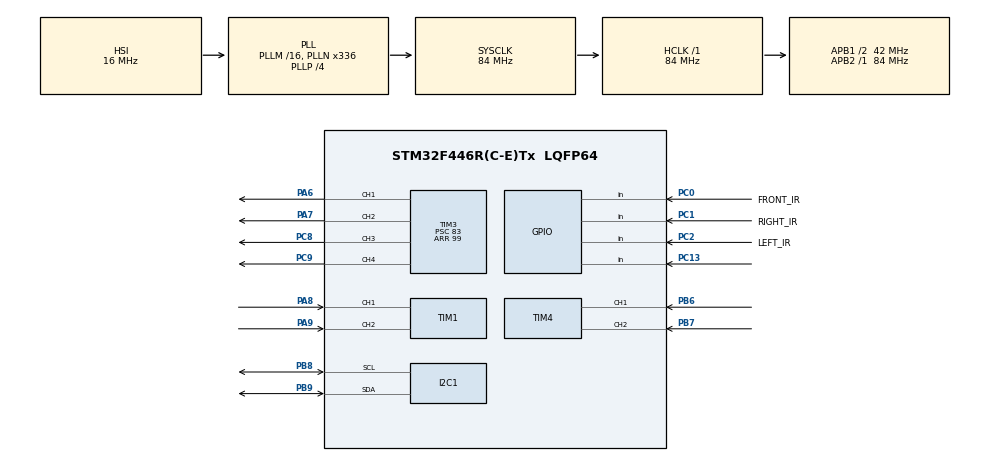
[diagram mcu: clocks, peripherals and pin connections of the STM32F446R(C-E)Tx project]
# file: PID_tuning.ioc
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Mcu.Family=STM32F4
Mcu.Name=STM32F446R(C-E)Tx
Mcu.Package=LQFP64
NVIC.PriorityGroup=NVIC_PRIORITYGROUP_0
NVIC.TIM6_DAC_IRQn=true\:0\:0\:false\:false\:true\:true\:true\:true
PA0-WKUP.Signal=S_TIM2_CH1_ETR
PA1.Signal=S_TIM2_CH2
PA13.Mode=Serial_Wire
PA13.Signal=SYS_JTMS-SWDIO
PA14.Mode=Serial_Wire
PA14.Signal=SYS_JTCK-SWCLK
PA6.Signal=S_TIM3_CH1
PA7.Signal=S_TIM3_CH2
PA8.Signal=S_TIM1_CH1
PA9.Signal=S_TIM1_CH2
PB6.Signal=S_TIM4_CH1
PB7.Signal=S_TIM4_CH2
PB8.Mode=I2C
PB8.Signal=I2C1_SCL
PB9.Mode=I2C
PB9.Signal=I2C1_SDA
PC0.GPIO_Label=FRONT_IR
PC0.GPIO_PuPd=GPIO_PULLUP
PC0.Signal=GPIO_Input
PC1.GPIO_Label=RIGHT_IR
PC1.GPIO_PuPd=GPIO_PULLUP
PC1.Signal=GPIO_Input
PC13.GPIO_PuPd=GPIO_PULLUP
PC13.Signal=GPIO_Input
PC2.GPIO_Label=LEFT_IR
PC2.GPIO_PuPd=GPIO_PULLUP
PC2.Signal=GPIO_Input
PC8.Signal=S_TIM3_CH3
PC9.Signal=S_TIM3_CH4
ProjectManager.HeapSize=0x200
ProjectManager.StackSize=0x400
ProjectManager.TargetToolchain=STM32CubeIDE
RCC.48MHZClocksFreq_Value=84000000
RCC.AHBFreq_Value=84000000
RCC.APB1CLKDivider=RCC_HCLK_DIV2
RCC.APB1Freq_Value=42000000
RCC.APB1TimFreq_Value=84000000
RCC.APB2Freq_Value=84000000
RCC.APB2TimFreq_Value=84000000
RCC.CortexFreq_Value=84000000
RCC.FLatency-AdvancedSettings=FLASH_LATENCY_2
RCC.HCLKFreq_Value=84000000
RCC.HSE_VALUE=8000000
RCC.HSI_VALUE=16000000
RCC.PLLN=336
RCC.PLLP=RCC_PLLP_DIV4
RCC.SYSCLKFreq_VALUE=84000000
RCC.SYSCLKSource=RCC_SYSCLKSOURCE_PLLCLK
RCC.USBFreq_Value=168000000
RCC.VCOOutputFreq_Value=336000000
SH.S_TIM1_CH1.0=TIM1_CH1,Encoder_Interface
SH.S_TIM1_CH2.0=TIM1_CH2,Encoder_Interface
SH.S_TIM2_CH1_ETR.0=TIM2_CH1
SH.S_TIM2_CH2.0=TIM2_CH2
SH.S_TIM3_CH1.0=TIM3_CH1,PWM Generation1 CH1
SH.S_TIM3_CH2.0=TIM3_CH2,PWM Generation2 CH2
SH.S_TIM3_CH3.0=TIM3_CH3,PWM Generation3 CH3
SH.S_TIM3_CH4.0=TIM3_CH4,PWM Generation4 CH4
SH.S_TIM4_CH1.0=TIM4_CH1,Encoder_Interface
SH.S_TIM4_CH2.0=TIM4_CH2,Encoder_Interface
TIM1.AutoReloadPreload=TIM_AUTORELOAD_PRELOAD_ENABLE
TIM1.EncoderMode=TIM_ENCODERMODE_TI12
TIM1.IC1Filter=5
TIM3.AutoReloadPreload=TIM_AUTORELOAD_PRELOAD_DISABLE
TIM3.Channel-PWM\ Generation1\ CH1=TIM_CHANNEL_1
TIM3.Channel-PWM\ Generation2\ CH2=TIM_CHANNEL_2
TIM3.Channel-PWM\ Generation3\ CH3=TIM_CHANNEL_3
TIM3.Channel-PWM\ Generation4\ CH4=TIM_CHANNEL_4
TIM3.Period=99
TIM3.Prescaler=83
TIM4.AutoReloadPreload=TIM_AUTORELOAD_PRELOAD_ENABLE
TIM4.EncoderMode=TIM_ENCODERMODE_TI12
TIM4.IC1Filter=5
TIM4.IC1Polarity=TIM_ICPOLARITY_RISING
TIM4.IC2Polarity=TIM_ICPOLARITY_RISING
TIM6.AutoReloadPreload=TIM_AUTORELOAD_PRELOAD_ENABLE
TIM6.Period=999
TIM6.Prescaler=83
VP_TIM6_VS_ClockSourceINT.Mode=Enable_Timer
board=NUCLEO-F446RE

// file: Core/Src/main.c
/* USER CODE BEGIN Header */
/**
  ******************************************************************************
  * @file           : main.c
  * @brief          : Main program body
  ******************************************************************************
  * @attention
  *
  * Copyright (c) 2025 STMicroelectronics.
  * All rights reserved.
  *
  * This software is licensed under terms that can be found in the LICENSE file
  * in the root directory of this software component.
  * If no LICENSE file comes with this software, it is provided AS-IS.
  *
  ******************************************************************************
  */
/* USER CODE END Header */
#include "main.h"

/* USER CODE BEGIN Includes */
#include <string.h>
#include <stdio.h>
#include "Motor_Encoder.h"
#include "lpf.h"
#include "pid.h"
#include "lsm6dsox.h"
#include "IR_driver.h"
#include "solver.h"

/* USER CODE END Includes */

/* USER CODE BEGIN PD */

encoder left_enc;
encoder right_enc;
PID     pid_left;
PID     pid_right;

//Gyroscope Define
uint8_t lsm6dsox_buf[12] = { 0 };
#define M_PI 3.14159265358979323846f
lsm6dsox_t lsm6dsox;
HAL_StatusTypeDef status;
int i = 0;
int deg_z = 0;
float ax, ay, az;
float ax_g, ay_g, az_g;
float gx_dps,gy_dps, gz_dps;

//////////////////////////

volatile int  left_wall;
volatile int  right_wall;
//uint32_t la_wall;
//uint32_t ra_wall;
volatile int front;

volatile uint8_t pid_update_flag = 0; // set in TIM6 ISR

#define COUNTS_PER_REV  1400.0f

void HAL_TIM_PeriodElapsedCallback(TIM_HandleTypeDef *htim) {
    if (htim->Instance == TIM6) {
    	pid_update_flag = 1;
    }
//    } else if (htim->Instance == TIM7) {
//    	sampling_flg = 1;
//    }
}
/* USER CODE END PD */

I2C_HandleTypeDef hi2c1;

TIM_HandleTypeDef htim1;
TIM_HandleTypeDef htim3;
TIM_HandleTypeDef htim4;
TIM_HandleTypeDef htim6;

void SystemClock_Config(void);
static void MX_GPIO_Init(void);
static void MX_TIM1_Init(void);
static void MX_TIM3_Init(void);
static void MX_TIM6_Init(void);
static void MX_TIM4_Init(void);
static void MX_I2C1_Init(void);

/* USER CODE BEGIN 0 */
HAL_StatusTypeDef lsm6dsox_enable_accel(lsm6dsox_t *dev) {
    // CTRL1_XL: ODR=104Hz (0x4), FS=±2g (0x0), LPF1=ODR/4 (0x1)
    uint8_t data = 0x41; // 01000001
    HAL_StatusTypeDef status = lsm6dsox_write(dev, REG_CTRL1_XL, data);
    if (status != HAL_OK) return status;

    // CTRL8_XL: Enable LPF2 with bandwidth=ODR/4 (26Hz)
    data = 0x02; // 00000010
    return lsm6dsox_write(dev, REG_CTRL8_XL, data);
}

// Gyroscope: 104Hz, ±250dps, LPF1 enabled
HAL_StatusTypeDef lsm6dsox_enable_gyro(lsm6dsox_t *dev) {
    // CTRL2_G: ODR=104Hz (0x4), FS=250dps (0x0)
    uint8_t data = 0x44; // 01000100 (ODR=104Hz, FS=250dps)
    HAL_StatusTypeDef status = lsm6dsox_write(dev, REG_CTRL2_G, data);
    if (status != HAL_OK) return status;

    // CTRL6_C: Gyro LPF1 bandwidth=ODR/4 (26Hz)
    data = 0x00; // FTYPE[1:0]=00 (LPF1 bandwidth=ODR/4)
    return lsm6dsox_write(dev, REG_CTRL6_C, data);
}

void moveForward() {
	HAL_Delay(2000);
	float displacement = 0;
	LPF_Coef coeffs_left = calculate_lpf_coefficients(10.0, 1000.0, 0.707);
	LPF_Coef coeffs_right= calculate_lpf_coefficients(10.0, 1000.0, 0.707);
	LPF_State state_left = {0, 0, 0, 0};
	LPF_State state_right = {0, 0, 0, 0};
	Encoder_Reset(&left_enc);
	Encoder_Reset(&right_enc);

	float angle_deg = 0;
	int angle = 0;
	__HAL_TIM_SET_COUNTER(&htim1, 0);
	__HAL_TIM_SET_COUNTER(&htim4, 0);
	while (displacement < 43){
		if (pid_update_flag){

			pid_update_flag = 0;

			Encoder_Update(&right_enc, &htim4, 0.001, COUNTS_PER_REV, 1);
			Encoder_Update(&left_enc,  &htim1, 0.001, COUNTS_PER_REV, 1);
			float left_rpm = left_enc.rpm;
			float right_rpm = right_enc.rpm;
			float left = lpf_process(left_rpm, &state_left, coeffs_left.b0, coeffs_left.b1, coeffs_left.b2, coeffs_left.a1, coeffs_left.a2);
			float right = lpf_process(right_rpm, &state_right, coeffs_right.b0, coeffs_right.b1, coeffs_right.b2, coeffs_right.a1, coeffs_right.a2);
			float setval = 200;
			displacement = displacement + (0.5* (left + right) * 13.195 / 60) * 0.001;

			PID_Update(&pid_left, setval , left,  0.001);
			PID_Update(&pid_right, setval + 1.7 , right, 0.001);

			Motor_SetMotorPWM(&htim3, TIM_CHANNEL_1, TIM_CHANNEL_2, pid_left.output);
			Motor_SetMotorPWM(&htim3, TIM_CHANNEL_3, TIM_CHANNEL_4, pid_right.output);
		}
	}

    Motor_SetMotorPWM(&htim3, TIM_CHANNEL_1, TIM_CHANNEL_2, 0);
	Motor_SetMotorPWM(&htim3, TIM_CHANNEL_3, TIM_CHANNEL_4, 0);
}

void turnRight() {
	HAL_Delay(2000);
	float angle_deg = 0;
	int angle = 0;
	__HAL_TIM_SET_COUNTER(&htim1, 0);
	__HAL_TIM_SET_COUNTER(&htim4, 0);
	while (angle < 91) {
		if (pid_update_flag){

			status = lsm6dsox_read(&lsm6dsox, REG_OUTX_L_G, 6);
			if (status == HAL_OK) {
				gz_dps = getGZ_dps(lsm6dsox_buf);

				angle_deg += (gz_dps *0.002);
				angle = (int) wrap_angle(angle_deg);

			}

			Motor_SetMotorPWM(&htim3, TIM_CHANNEL_1, TIM_CHANNEL_2, -70);
			Motor_SetMotorPWM(&htim3, TIM_CHANNEL_3, TIM_CHANNEL_4, 70);
		}

	}
    Motor_SetMotorPWM(&htim3, TIM_CHANNEL_1, TIM_CHANNEL_2, 0);
	Motor_SetMotorPWM(&htim3, TIM_CHANNEL_3, TIM_CHANNEL_4, 0);

}
void turnLeft() {
	HAL_Delay(2000);
	float angle_deg = 0;
	int angle = 0;
	__HAL_TIM_SET_COUNTER(&htim1, 0);
	__HAL_TIM_SET_COUNTER(&htim4, 0);
	while (angle > -92) {
		if (pid_update_flag){

			status = lsm6dsox_read(&lsm6dsox, REG_OUTX_L_G, 6);
			if (status == HAL_OK) {
				gz_dps = getGZ_dps(lsm6dsox_buf);

				angle_deg += (gz_dps *0.002);
				angle = (int) wrap_angle(angle_deg);

			}
			Motor_SetMotorPWM(&htim3, TIM_CHANNEL_1, TIM_CHANNEL_2, 70);
			Motor_SetMotorPWM(&htim3, TIM_CHANNEL_3, TIM_CHANNEL_4, -70);
		}

	}
    Motor_SetMotorPWM(&htim3, TIM_CHANNEL_1, TIM_CHANNEL_2, 0);
	Motor_SetMotorPWM(&htim3, TIM_CHANNEL_3, TIM_CHANNEL_4, 0);

}

void decisions(Action a) {
    switch (a) {
        case LEFT:
            turnLeft();
            break;
        case RIGHT:
            turnRight();
            break;
        case FORWARD:
            moveForward();
            break;
        case TURNAROUND:
            turnLeft();
            turnLeft();
            break;
        default:
            // Handle unexpected cases
            break;
    }
}

/* USER CODE END 0 */

int main(void)
{

  /* MCU Configuration--------------------------------------------------------*/

  /* Reset of all peripherals, Initializes the Flash interface and the Systick. */
  HAL_Init();

  /* Configure the system clock */
  SystemClock_Config();

  /* Initialize all configured peripherals */
  MX_GPIO_Init();
  MX_TIM1_Init();
  MX_TIM3_Init();
  MX_TIM6_Init();
  MX_TIM4_Init();
  MX_I2C1_Init();
  /* USER CODE BEGIN 2 */

  HAL_TIM_PWM_Start(&htim3, TIM_CHANNEL_1);
  HAL_TIM_PWM_Start(&htim3, TIM_CHANNEL_2);
  HAL_TIM_PWM_Start(&htim3, TIM_CHANNEL_3);
  HAL_TIM_PWM_Start(&htim3, TIM_CHANNEL_4);

  // Zero PWM initially

  // Start encoders (Quadrature mode)
  HAL_TIM_Encoder_Start(&htim1, TIM_CHANNEL_ALL); // right motor?
  HAL_TIM_Encoder_Start(&htim4, TIM_CHANNEL_ALL); // left motor?

  // Start periodic base timer for the PID loop
  HAL_TIM_Base_Start_IT(&htim6);

	PID_Init(&pid_left,  1.0f, 0.00001f, 0.0001f, 0.0f);
	PID_Init(&pid_right, 1.0f, 0.00001f, 0.0001f, 0.0f);
//	HAL_TIM_Base_Start_IT(&htim2)

	//kp = 1.17, kd = 0, ki = 0.001

//Gyro init
	  status = lsm6dsox_init(&lsm6dsox, &hi2c1, lsm6dsox_buf, 12);
	  if (status != HAL_OK) {
	    Error_Handler();
	  }
	  status = lsm6dsox_enable_accel(&lsm6dsox);
	  if (status != HAL_OK) Error_Handler();
	  status = lsm6dsox_enable_gyro(&lsm6dsox);
	  if (status != HAL_OK) Error_Handler();

/////////

	while (HAL_GPIO_ReadPin(GPIOC, GPIO_PIN_13) == GPIO_PIN_SET){

		//using the push button as a start

	  Motor_SetPWM(&htim3, TIM_CHANNEL_1, 0);
	  Motor_SetPWM(&htim3, TIM_CHANNEL_2, 0);
	  Motor_SetPWM(&htim3, TIM_CHANNEL_3, 0);
	  Motor_SetPWM(&htim3, TIM_CHANNEL_4, 0);

	}

	generateInitialWalls();
  /* USER CODE END 2 */

  /* Infinite loop */
  /* USER CODE BEGIN WHILE */
  while (1)
  {
	  Action a = solver();
      if (a == IDLE) {
          printf("Solver is idle; done.\n");
          break;
      }
	  decisions(a);

//				uint32_t time_ms = HAL_GetTick();
//				char msg[64];
//				int len = snprintf(msg, sizeof(msg), "%1u,%.2f\r\n", time_ms, left);
//				HAL_UART_Transmit(&huart2, (uint8_t*)msg, len, HAL_MAX_DELAY);

    /* USER CODE END WHILE */

  }
}

void SystemClock_Config(void)
{
  RCC_OscInitTypeDef RCC_OscInitStruct = {0};
  RCC_ClkInitTypeDef RCC_ClkInitStruct = {0};

  /** Configure the main internal regulator output voltage
  */
  __HAL_RCC_PWR_CLK_ENABLE();
  __HAL_PWR_VOLTAGESCALING_CONFIG(PWR_REGULATOR_VOLTAGE_SCALE3);

  /** Initializes the RCC Oscillators according to the specified parameters
  * in the RCC_OscInitTypeDef structure.
  */
  RCC_OscInitStruct.OscillatorType = RCC_OSCILLATORTYPE_HSI;
  RCC_OscInitStruct.HSIState = RCC_HSI_ON;
  RCC_OscInitStruct.HSICalibrationValue = RCC_HSICALIBRATION_DEFAULT;
  RCC_OscInitStruct.PLL.PLLState = RCC_PLL_ON;
  RCC_OscInitStruct.PLL.PLLSource = RCC_PLLSOURCE_HSI;
  RCC_OscInitStruct.PLL.PLLM = 16;
  RCC_OscInitStruct.PLL.PLLN = 336;
  RCC_OscInitStruct.PLL.PLLP = RCC_PLLP_DIV4;
  RCC_OscInitStruct.PLL.PLLQ = 2;
  RCC_OscInitStruct.PLL.PLLR = 2;
  if (HAL_RCC_OscConfig(&RCC_OscInitStruct) != HAL_OK)
  {
    Error_Handler();
  }

  /** Initializes the CPU, AHB and APB buses clocks
  */
  RCC_ClkInitStruct.ClockType = RCC_CLOCKTYPE_HCLK|RCC_CLOCKTYPE_SYSCLK
                              |RCC_CLOCKTYPE_PCLK1|RCC_CLOCKTYPE_PCLK2;
  RCC_ClkInitStruct.SYSCLKSource = RCC_SYSCLKSOURCE_PLLCLK;
  RCC_ClkInitStruct.AHBCLKDivider = RCC_SYSCLK_DIV1;
  RCC_ClkInitStruct.APB1CLKDivider = RCC_HCLK_DIV2;
  RCC_ClkInitStruct.APB2CLKDivider = RCC_HCLK_DIV1;

  if (HAL_RCC_ClockConfig(&RCC_ClkInitStruct, FLASH_LATENCY_2) != HAL_OK)
  {
    Error_Handler();
  }
}

static void MX_I2C1_Init(void)
{

  hi2c1.Instance = I2C1;
  hi2c1.Init.ClockSpeed = 100000;
  hi2c1.Init.DutyCycle = I2C_DUTYCYCLE_2;
  hi2c1.Init.OwnAddress1 = 0;
  hi2c1.Init.AddressingMode = I2C_ADDRESSINGMODE_7BIT;
  hi2c1.Init.DualAddressMode = I2C_DUALADDRESS_DISABLE;
  hi2c1.Init.OwnAddress2 = 0;
  hi2c1.Init.GeneralCallMode = I2C_GENERALCALL_DISABLE;
  hi2c1.Init.NoStretchMode = I2C_NOSTRETCH_DISABLE;
  if (HAL_I2C_Init(&hi2c1) != HAL_OK)
  {
    Error_Handler();
  }

}

static void MX_TIM1_Init(void)
{

  TIM_Encoder_InitTypeDef sConfig = {0};
  TIM_MasterConfigTypeDef sMasterConfig = {0};

  htim1.Instance = TIM1;
  htim1.Init.Prescaler = 0;
  htim1.Init.CounterMode = TIM_COUNTERMODE_UP;
  htim1.Init.Period = 65535;
  htim1.Init.ClockDivision = TIM_CLOCKDIVISION_DIV1;
  htim1.Init.RepetitionCounter = 0;
  htim1.Init.AutoReloadPreload = TIM_AUTORELOAD_PRELOAD_ENABLE;
  sConfig.EncoderMode = TIM_ENCODERMODE_TI12;
  sConfig.IC1Polarity = TIM_ICPOLARITY_RISING;
  sConfig.IC1Selection = TIM_ICSELECTION_DIRECTTI;
  sConfig.IC1Prescaler = TIM_ICPSC_DIV1;
  sConfig.IC1Filter = 5;
  sConfig.IC2Polarity = TIM_ICPOLARITY_RISING;
  sConfig.IC2Selection = TIM_ICSELECTION_DIRECTTI;
  sConfig.IC2Prescaler = TIM_ICPSC_DIV1;
  sConfig.IC2Filter = 0;
  if (HAL_TIM_Encoder_Init(&htim1, &sConfig) != HAL_OK)
  {
    Error_Handler();
  }
  sMasterConfig.MasterOutputTrigger = TIM_TRGO_RESET;
  sMasterConfig.MasterSlaveMode = TIM_MASTERSLAVEMODE_DISABLE;
  if (HAL_TIMEx_MasterConfigSynchronization(&htim1, &sMasterConfig) != HAL_OK)
  {
    Error_Handler();
  }

}

static void MX_TIM3_Init(void)
{

  TIM_MasterConfigTypeDef sMasterConfig = {0};
  TIM_OC_InitTypeDef sConfigOC = {0};

  htim3.Instance = TIM3;
  htim3.Init.Prescaler = 83;
  htim3.Init.CounterMode = TIM_COUNTERMODE_UP;
  htim3.Init.Period = 99;
  htim3.Init.ClockDivision = TIM_CLOCKDIVISION_DIV1;
  htim3.Init.AutoReloadPreload = TIM_AUTORELOAD_PRELOAD_DISABLE;
  if (HAL_TIM_PWM_Init(&htim3) != HAL_OK)
  {
    Error_Handler();
  }
  sMasterConfig.MasterOutputTrigger = TIM_TRGO_RESET;
  sMasterConfig.MasterSlaveMode = TIM_MASTERSLAVEMODE_DISABLE;
  if (HAL_TIMEx_MasterConfigSynchronization(&htim3, &sMasterConfig) != HAL_OK)
  {
    Error_Handler();
  }
  sConfigOC.OCMode = TIM_OCMODE_PWM1;
  sConfigOC.Pulse = 0;
  sConfigOC.OCPolarity = TIM_OCPOLARITY_HIGH;
  sConfigOC.OCFastMode = TIM_OCFAST_DISABLE;
  if (HAL_TIM_PWM_ConfigChannel(&htim3, &sConfigOC, TIM_CHANNEL_1) != HAL_OK)
  {
    Error_Handler();
  }
  if (HAL_TIM_PWM_ConfigChannel(&htim3, &sConfigOC, TIM_CHANNEL_2) != HAL_OK)
  {
    Error_Handler();
  }
  if (HAL_TIM_PWM_ConfigChannel(&htim3, &sConfigOC, TIM_CHANNEL_3) != HAL_OK)
  {
    Error_Handler();
  }
  if (HAL_TIM_PWM_ConfigChannel(&htim3, &sConfigOC, TIM_CHANNEL_4) != HAL_OK)
  {
    Error_Handler();
  }
  HAL_TIM_MspPostInit(&htim3);

}

static void MX_TIM4_Init(void)
{

  TIM_Encoder_InitTypeDef sConfig = {0};
  TIM_MasterConfigTypeDef sMasterConfig = {0};

  htim4.Instance = TIM4;
  htim4.Init.Prescaler = 0;
  htim4.Init.CounterMode = TIM_COUNTERMODE_UP;
  htim4.Init.Period = 65535;
  htim4.Init.ClockDivision = TIM_CLOCKDIVISION_DIV1;
  htim4.Init.AutoReloadPreload = TIM_AUTORELOAD_PRELOAD_ENABLE;
  sConfig.EncoderMode = TIM_ENCODERMODE_TI12;
  sConfig.IC1Polarity = TIM_ICPOLARITY_RISING;
  sConfig.IC1Selection = TIM_ICSELECTION_DIRECTTI;
  sConfig.IC1Prescaler = TIM_ICPSC_DIV1;
  sConfig.IC1Filter = 5;
  sConfig.IC2Polarity = TIM_ICPOLARITY_RISING;
  sConfig.IC2Selection = TIM_ICSELECTION_DIRECTTI;
  sConfig.IC2Prescaler = TIM_ICPSC_DIV1;
  sConfig.IC2Filter = 0;
  if (HAL_TIM_Encoder_Init(&htim4, &sConfig) != HAL_OK)
  {
    Error_Handler();
  }
  sMasterConfig.MasterOutputTrigger = TIM_TRGO_RESET;
  sMasterConfig.MasterSlaveMode = TIM_MASTERSLAVEMODE_DISABLE;
  if (HAL_TIMEx_MasterConfigSynchronization(&htim4, &sMasterConfig) != HAL_OK)
  {
    Error_Handler();
  }

}

static void MX_TIM6_Init(void)
{

  TIM_MasterConfigTypeDef sMasterConfig = {0};

  htim6.Instance = TIM6;
  htim6.Init.Prescaler = 83;
  htim6.Init.CounterMode = TIM_COUNTERMODE_UP;
  htim6.Init.Period = 999;
  htim6.Init.AutoReloadPreload = TIM_AUTORELOAD_PRELOAD_ENABLE;
  if (HAL_TIM_Base_Init(&htim6) != HAL_OK)
  {
    Error_Handler();
  }
  sMasterConfig.MasterOutputTrigger = TIM_TRGO_RESET;
  sMasterConfig.MasterSlaveMode = TIM_MASTERSLAVEMODE_DISABLE;
  if (HAL_TIMEx_MasterConfigSynchronization(&htim6, &sMasterConfig) != HAL_OK)
  {
    Error_Handler();
  }

}

static void MX_GPIO_Init(void)
{
  GPIO_InitTypeDef GPIO_InitStruct = {0};

  /* GPIO Ports Clock Enable */
  __HAL_RCC_GPIOC_CLK_ENABLE();
  __HAL_RCC_GPIOA_CLK_ENABLE();
  __HAL_RCC_GPIOB_CLK_ENABLE();

  /*Configure GPIO pins : PC13 FRONT_IR_Pin RIGHT_IR_Pin LEFT_IR_Pin */
  GPIO_InitStruct.Pin = GPIO_PIN_13|FRONT_IR_Pin|RIGHT_IR_Pin|LEFT_IR_Pin;
  GPIO_InitStruct.Mode = GPIO_MODE_INPUT;
  GPIO_InitStruct.Pull = GPIO_PULLUP;
  HAL_GPIO_Init(GPIOC, &GPIO_InitStruct);

  /*Configure GPIO pins : PA0 PA1 */
  GPIO_InitStruct.Pin = GPIO_PIN_0|GPIO_PIN_1;
  GPIO_InitStruct.Mode = GPIO_MODE_AF_PP;
  GPIO_InitStruct.Pull = GPIO_NOPULL;
  GPIO_InitStruct.Speed = GPIO_SPEED_FREQ_LOW;
  GPIO_InitStruct.Alternate = GPIO_AF1_TIM2;
  HAL_GPIO_Init(GPIOA, &GPIO_InitStruct);

}

void Error_Handler(void)
{
  __disable_irq();
  while (1)
  {
  }
}
